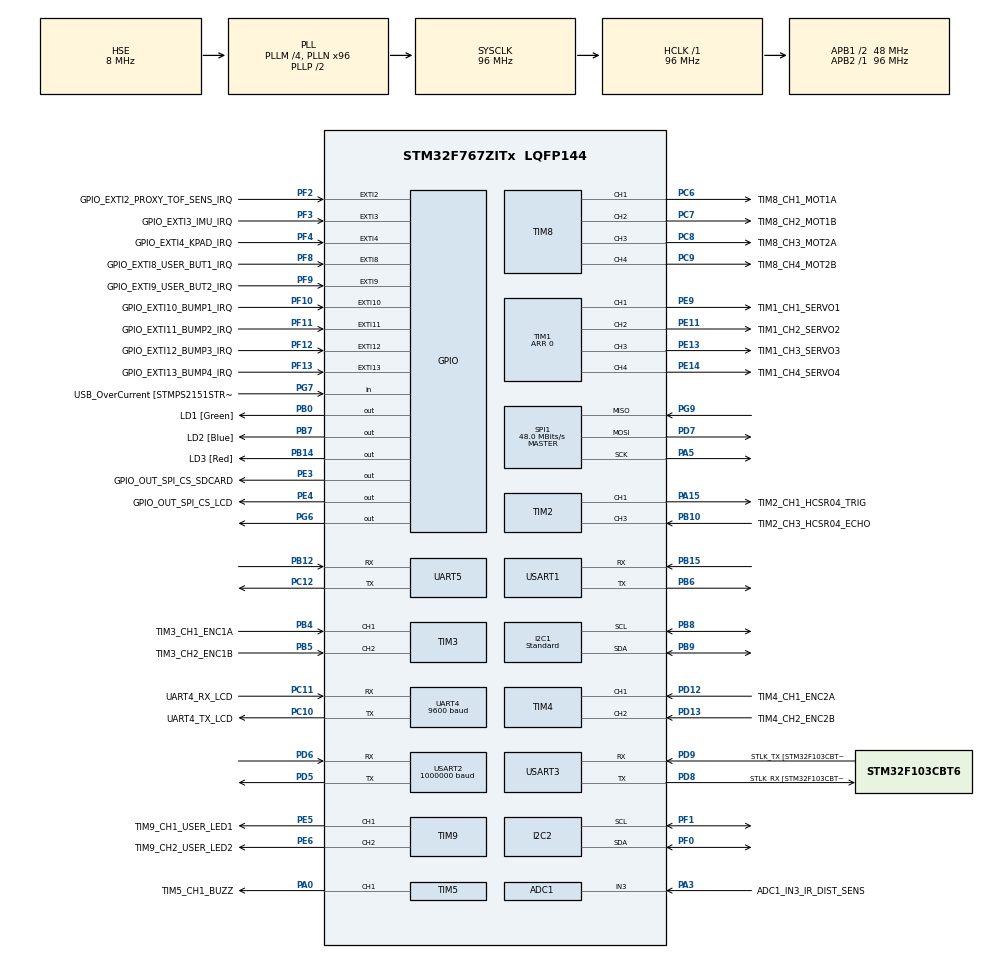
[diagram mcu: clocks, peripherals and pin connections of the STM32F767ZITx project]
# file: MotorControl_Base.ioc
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ADC1.Channel-1\#ChannelRegularConversion=ADC_CHANNEL_3
ADC1.NbrOfConversionFlag=1
ADC1.Rank-1\#ChannelRegularConversion=1
ADC1.SamplingTime-1\#ChannelRegularConversion=ADC_SAMPLETIME_3CYCLES
ADC1.master=1
I2C1.I2C_Speed_Mode=I2C_Standard
I2C1.Timing=0x20303E5D
I2C2.Timing=0x20303E5D
Mcu.Family=STM32F7
Mcu.Name=STM32F767ZITx
Mcu.Package=LQFP144
Mcu.UserConstants=TIM3_ARR_VALUE,3839;TIM4_ARR_VALUE,3839;TIM8_PSC_VALUE,959;TIM8_ARR_VALUE,399;TIM6_PSC_VALUE,959;TIM6_ARR_VALUE,999;TIM1_PSC_VALUE,959;TIM1_ARR_VALUE,1999
NVIC.PriorityGroup=NVIC_PRIORITYGROUP_4
NVIC.TIM6_DAC_IRQn=true\:1\:0\:true\:false\:true\:true\:true\:true
PA0/WKUP.GPIO_Label=TIM5_CH1_BUZZ
PA0/WKUP.Signal=S_TIM5_CH1
PA1.GPIO_Label=RMII_REF_CLK [LAN8742A-CZ-TR_REFCLK0]
PA1.Signal=ETH_REF_CLK
PA10.GPIO_Label=USB_ID
PA10.Signal=USB_OTG_FS_ID
PA11.GPIO_Label=USB_DM
PA11.Signal=USB_OTG_FS_DM
PA12.GPIO_Label=USB_DP
PA12.Signal=USB_OTG_FS_DP
PA13.GPIO_Label=TMS
PA13.Mode=Serial_Wire
PA13.Signal=SYS_JTMS-SWDIO
PA14.GPIO_Label=TCK
PA14.Mode=Serial_Wire
PA14.Signal=SYS_JTCK-SWCLK
PA15.GPIO_Label=TIM2_CH1_HCSR04_TRIG
PA15.Signal=S_TIM2_CH1_ETR
PA2.GPIO_Label=RMII_MDIO [LAN8742A-CZ-TR_MDIO]
PA2.Signal=ETH_MDIO
PA3.GPIO_Label=ADC1_IN3_IR_DIST_SENS
PA3.Signal=ADCx_IN3
PA5.Mode=Full_Duplex_Master
PA5.Signal=SPI1_SCK
PA7.GPIO_Label=RMII_CRS_DV [LAN8742A-CZ-TR_CRS_DV]
PA7.Signal=ETH_CRS_DV
PA8.GPIO_Label=USB_SOF [TP1]
PA8.Signal=USB_OTG_FS_SOF
PA9.GPIO_Label=USB_VBUS
PA9.Signal=USB_OTG_FS_VBUS
PB0.GPIO_Label=LD1 [Green]
PB0.Signal=GPIO_Output
PB10.GPIO_Label=TIM2_CH3_HCSR04_ECHO
PB10.Signal=S_TIM2_CH3
PB12.Mode=Asynchronous
PB12.Signal=UART5_RX
PB13.GPIO_Label=RMII_TXD1 [LAN8742A-CZ-TR_TXD1]
PB13.Signal=ETH_TXD1
PB14.GPIO_Label=LD3 [Red]
PB14.Signal=GPIO_Output
PB15.Mode=Asynchronous
PB15.Signal=USART1_RX
PB3.GPIO_Label=SWO
PB3.Signal=SYS_JTDO-SWO
PB4.GPIO_Label=TIM3_CH1_ENC1A
PB4.Signal=S_TIM3_CH1
PB5.GPIO_Label=TIM3_CH2_ENC1B
PB5.Signal=S_TIM3_CH2
PB6.Mode=Asynchronous
PB6.Signal=USART1_TX
PB7.GPIO_Label=LD2 [Blue]
PB7.Signal=GPIO_Output
PB8.GPIO_Pu=GPIO_PULLUP
PB8.Mode=I2C
PB8.Signal=I2C1_SCL
PB9.GPIO_Pu=GPIO_PULLUP
PB9.Mode=I2C
PB9.Signal=I2C1_SDA
PC1.GPIO_Label=RMII_MDC [LAN8742A-CZ-TR_MDC]
PC1.Signal=ETH_MDC
PC10.GPIO_Label=UART4_TX_LCD
PC10.Mode=Asynchronous
PC10.Signal=UART4_TX
PC11.GPIO_Label=UART4_RX_LCD
PC11.Mode=Asynchronous
PC11.Signal=UART4_RX
PC12.Mode=Asynchronous
PC12.Signal=UART5_TX
PC14/OSC32_IN.Mode=LSE-External-Oscillator
PC14/OSC32_IN.Signal=RCC_OSC32_IN
PC15/OSC32_OUT.Mode=LSE-External-Oscillator
PC15/OSC32_OUT.Signal=RCC_OSC32_OUT
PC4.GPIO_Label=RMII_RXD0 [LAN8742A-CZ-TR_RXD0]
PC4.Signal=ETH_RXD0
PC5.GPIO_Label=RMII_RXD1 [LAN8742A-CZ-TR_RXD1]
PC5.Signal=ETH_RXD1
PC6.GPIO_Label=TIM8_CH1_MOT1A
PC6.Signal=S_TIM8_CH1
PC7.GPIO_Label=TIM8_CH2_MOT1B
PC7.Signal=S_TIM8_CH2
PC8.GPIO_Label=TIM8_CH3_MOT2A
PC8.Signal=S_TIM8_CH3
PC9.GPIO_Label=TIM8_CH4_MOT2B
PC9.Signal=S_TIM8_CH4
PD12.GPIO_Label=TIM4_CH1_ENC2A
PD12.Signal=S_TIM4_CH1
PD13.GPIO_Label=TIM4_CH2_ENC2B
PD13.Signal=S_TIM4_CH2
PD5.Mode=Asynchronous
PD5.Signal=USART2_TX
PD6.Mode=Asynchronous
PD6.Signal=USART2_RX
PD7.Mode=Full_Duplex_Master
PD7.Signal=SPI1_MOSI
PD8.GPIO_Label=STLK_RX [STM32F103CBT6_PA3]
PD8.Mode=Asynchronous
PD8.Signal=USART3_TX
PD9.GPIO_Label=STLK_TX [STM32F103CBT6_PA2]
PD9.Mode=Asynchronous
PD9.Signal=USART3_RX
PE11.GPIO_Label=TIM1_CH2_SERVO2
PE11.Signal=S_TIM1_CH2
PE13.GPIO_Label=TIM1_CH3_SERVO3
PE13.Signal=S_TIM1_CH3
PE14.GPIO_Label=TIM1_CH4_SERVO4
PE14.Signal=S_TIM1_CH4
PE3.GPIO_Label=GPIO_OUT_SPI_CS_SDCARD
PE3.Signal=GPIO_Output
PE4.GPIO_Label=GPIO_OUT_SPI_CS_LCD
PE4.Signal=GPIO_Output
PE5.GPIO_Label=TIM9_CH1_USER_LED1
PE5.Signal=S_TIM9_CH1
PE6.GPIO_Label=TIM9_CH2_USER_LED2
PE6.Signal=S_TIM9_CH2
PE9.GPIO_Label=TIM1_CH1_SERVO1
PE9.Signal=S_TIM1_CH1
PF0.GPIO_Pu=GPIO_PULLUP
PF0.Mode=I2C
PF0.Signal=I2C2_SDA
PF1.GPIO_Pu=GPIO_PULLUP
PF1.Mode=I2C
PF1.Signal=I2C2_SCL
PF10.GPIO_Label=GPIO_EXTI10_BUMP1_IRQ
PF10.Signal=GPXTI10
PF11.GPIO_Label=GPIO_EXTI11_BUMP2_IRQ
PF11.Signal=GPXTI11
PF12.GPIO_Label=GPIO_EXTI12_BUMP3_IRQ
PF12.Signal=GPXTI12
PF13.GPIO_Label=GPIO_EXTI13_BUMP4_IRQ
PF13.Signal=GPXTI13
PF2.GPIO_Label=GPIO_EXTI2_PROXY_TOF_SENS_IRQ
PF2.Signal=GPXTI2
PF3.GPIO_Label=GPIO_EXTI3_IMU_IRQ
PF3.Signal=GPXTI3
PF4.GPIO_Label=GPIO_EXTI4_KPAD_IRQ
PF4.Signal=GPXTI4
PF8.GPIO_Label=GPIO_EXTI8_USER_BUT1_IRQ
PF8.Signal=GPXTI8
PF9.GPIO_Label=GPIO_EXTI9_USER_BUT2_IRQ
PF9.Signal=GPXTI9
PG11.GPIO_Label=RMII_TX_EN [LAN8742A-CZ-TR_TXEN]
PG11.Signal=ETH_TX_EN
PG13.GPIO_Label=RMII_TXD0 [LAN8742A-CZ-TR_TXD0]
PG13.Signal=ETH_TXD0
PG6.Signal=GPIO_Output
PG7.GPIO_Label=USB_OverCurrent [STMPS2151STR_FAULT]
PG7.Signal=GPIO_Input
PG9.Mode=Full_Duplex_Master
PG9.Signal=SPI1_MISO
PH0/OSC_IN.GPIO_Label=MCO [STM32F103CBT6_PA8]
PH0/OSC_IN.Mode=HSE-External-Clock-Source
PH0/OSC_IN.Signal=RCC_OSC_IN
PH1/OSC_OUT.Mode=HSE-External-Clock-Source
PH1/OSC_OUT.Signal=RCC_OSC_OUT
ProjectManager.HeapSize=0x200
ProjectManager.StackSize=0x400
ProjectManager.TargetToolchain=STM32CubeIDE
RCC.48MHZClocksFreq_Value=24000000
RCC.AHBFreq_Value=96000000
RCC.APB1CLKDivider=RCC_HCLK_DIV2
RCC.APB1Freq_Value=48000000
RCC.APB1TimFreq_Value=96000000
RCC.APB2Freq_Value=96000000
RCC.APB2TimFreq_Value=96000000
RCC.CortexFreq_Value=96000000
RCC.HCLKFreq_Value=96000000
RCC.HSE_VALUE=8000000
RCC.HSI_VALUE=16000000
RCC.PLLM=4
RCC.PLLMUL=RCC_PLL_MUL9
RCC.PLLN=96
RCC.PLLQ=4
RCC.PLLSourceVirtual=RCC_PLLSOURCE_HSE
RCC.PRESCALERUSB=RCC_USBCLKSOURCE_PLL_DIV1_5
RCC.SYSCLKFreq_VALUE=96000000
RCC.SYSCLKSource=RCC_SYSCLKSOURCE_PLLCLK
RCC.SYSCLKSourceVirtual=RCC_SYSCLKSOURCE_PLLCLK
RCC.USBFreq_Value=48000000
RCC.VCOOutputFreq_Value=192000000
SH.ADCx_IN3.0=ADC1_IN3,IN3
SH.S_TIM1_CH1.0=TIM1_CH1,Forced Output1 CH1
SH.S_TIM1_CH2.0=TIM1_CH2,Forced Output2 CH2
SH.S_TIM1_CH3.0=TIM1_CH3,Forced Output3 CH3
SH.S_TIM1_CH4.0=TIM1_CH4,Forced Output4 CH4
SH.S_TIM2_CH1_ETR.0=TIM2_CH1,PWM Generation1 CH1
SH.S_TIM2_CH3.0=TIM2_CH3,Input_Capture3_from_TI3
SH.S_TIM3_CH1.0=TIM3_CH1,Encoder_Interface
SH.S_TIM3_CH2.0=TIM3_CH2,Encoder_Interface
SH.S_TIM4_CH1.0=TIM4_CH1,Encoder_Interface
SH.S_TIM4_CH2.0=TIM4_CH2,Encoder_Interface
SH.S_TIM5_CH1.0=TIM5_CH1,PWM Generation1 CH1
SH.S_TIM8_CH1.0=TIM8_CH1,PWM Generation1 CH1
SH.S_TIM8_CH2.0=TIM8_CH2,PWM Generation2 CH2
SH.S_TIM8_CH3.0=TIM8_CH3,PWM Generation3 CH3
SH.S_TIM8_CH4.0=TIM8_CH4,PWM Generation4 CH4
SH.S_TIM9_CH1.0=TIM9_CH1,PWM Generation1 CH1
SH.S_TIM9_CH2.0=TIM9_CH2,PWM Generation2 CH2
SPI1.CalculateBaudRate=48.0 MBits/s
SPI1.Direction=SPI_DIRECTION_2LINES
SPI1.Mode=SPI_MODE_MASTER
SPI1.VirtualType=VM_MASTER
TIM1.Channel-Forced\ Output1\ CH1=TIM_CHANNEL_1
TIM1.Channel-Forced\ Output2\ CH2=TIM_CHANNEL_2
TIM1.Channel-Forced\ Output3\ CH3=TIM_CHANNEL_3
TIM1.Channel-Forced\ Output4\ CH4=TIM_CHANNEL_4
TIM1.OCPolarity_1=TIM_OCPOLARITY_LOW
TIM1.OCPolarity_2=TIM_OCPOLARITY_LOW
TIM1.OCPolarity_3=TIM_OCPOLARITY_LOW
TIM1.OCPolarity_4=TIM_OCPOLARITY_LOW
TIM1.Period=0
TIM2.Channel-Input_Capture3_from_TI3=TIM_CHANNEL_3
TIM2.Channel-PWM\ Generation1\ CH1=TIM_CHANNEL_1
TIM3.EncoderMode=TIM_ENCODERMODE_TI12
TIM3.IC1Filter=15
TIM3.IC2Filter=15
TIM3.Period=TIM3_ARR_VALUE
TIM4.EncoderMode=TIM_ENCODERMODE_TI12
TIM4.IC1Filter=15
TIM4.IC2Filter=15
TIM4.Period=TIM4_ARR_VALUE
TIM5.Channel-PWM\ Generation1\ CH1=TIM_CHANNEL_1
TIM6.Period=TIM6_ARR_VALUE
TIM6.Prescaler=TIM6_PSC_VALUE
TIM8.Channel-PWM\ Generation1\ CH1=TIM_CHANNEL_1
TIM8.Channel-PWM\ Generation2\ CH2=TIM_CHANNEL_2
TIM8.Channel-PWM\ Generation3\ CH3=TIM_CHANNEL_3
TIM8.Channel-PWM\ Generation4\ CH4=TIM_CHANNEL_4
TIM8.Period=TIM8_ARR_VALUE
TIM8.Prescaler=TIM8_PSC_VALUE
TIM9.Channel-PWM\ Generation1\ CH1=TIM_CHANNEL_1
TIM9.Channel-PWM\ Generation2\ CH2=TIM_CHANNEL_2
UART4.BaudRate=9600
USART1.VirtualMode-Asynchronous=VM_ASYNC
USART2.BaudRate=1000000
USART2.VirtualMode-Asynchronous=VM_ASYNC
USART3.VirtualMode-Asynchronous=VM_ASYNC
VP_TIM1_VS_ClockSourceINT.Mode=Internal
VP_TIM2_VS_ClockSourceINT.Mode=Internal
VP_TIM5_VS_ClockSourceINT.Mode=Internal
VP_TIM6_VS_ClockSourceINT.Mode=Enable_Timer
VP_TIM8_VS_ClockSourceINT.Mode=Internal
board=NUCLEO-F767ZI

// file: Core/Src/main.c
/* USER CODE BEGIN Header */
/**
 ******************************************************************************
 * @file           : main.c
 * @brief          : Main program body
 ******************************************************************************
 * @attention
 *
 * <h2><center>&copy; Copyright (c) 2021 STMicroelectronics.
 * All rights reserved.</center></h2>
 *
 * This software component is licensed by ST under BSD 3-Clause license,
 * the "License"; You may not use this file except in compliance with the
 * License. You may obtain a copy of the License at:
 *                        opensource.org/licenses/BSD-3-Clause
 *
 ******************************************************************************
 */
/* USER CODE END Header */
#include "main.h"

/* USER CODE BEGIN Includes */
#include <math.h>
#include <stdbool.h>
#include "ertc-datalogger.h"
/* USER CODE END Includes */

/* USER CODE BEGIN PD */
// #define	HAL_TIMEOUT		1
#define TS 0.01
#define KP1 1.6196
#define KI1 8.9979
#define KP2 1.9574
#define KI2 10.8747

#define VBATT 12.0 /* PSU max voltage */
#define V2DUTY ((float)(TIM8_ARR_VALUE + 1) / VBATT)
#define DUTY2V ((float)VBATT / (TIM8_ARR_VALUE + 1))

#define RPM2RADS 2 * M_PI / 60
#define ENC_PPR 3840.0f /* encoder counts per wheel revolution (x4 decoding, gearbox included) */
#define DUTY_MAX 0.5f   /* lab requirement: duty <= 50 % (6 V on 12 V) */

#define MODE_COAST 0 /* Forward/Coast (fast decay) */
#define MODE_BRAKE 1 /* Forward/Brake (slow decay) */
#define DRIVE_MODE MODE_BRAKE

/* H-bridge inputs on TIM8 and motor orientation */
#define M1_IN1_CH TIM_CHANNEL_1 /* motor 1, encoder TIM3 */
#define M1_IN2_CH TIM_CHANNEL_2
#define M2_IN1_CH TIM_CHANNEL_3 /* motor 2, encoder TIM4 */
#define M2_IN2_CH TIM_CHANNEL_4

/* +1: forward
 * -1: reverse
 */
#define M1_SIGN (+1) /* flip so "forward" gives w > 0 */
#define M2_SIGN (+1)

/* step experiment */
#define T_REST 2.0f /* in seconds 0 V before each step */
#define T_STEP 3.0f /* in seconds, step duration */
/* USER CODE END PD */

ADC_HandleTypeDef hadc1;

I2C_HandleTypeDef hi2c1;
I2C_HandleTypeDef hi2c2;

SPI_HandleTypeDef hspi1;

TIM_HandleTypeDef htim1;
TIM_HandleTypeDef htim2;
TIM_HandleTypeDef htim3;
TIM_HandleTypeDef htim4;
TIM_HandleTypeDef htim5;
TIM_HandleTypeDef htim6;
TIM_HandleTypeDef htim8;
TIM_HandleTypeDef htim9;

UART_HandleTypeDef huart4;
UART_HandleTypeDef huart5;
UART_HandleTypeDef huart1;
UART_HandleTypeDef huart2;
UART_HandleTypeDef huart3;

/* USER CODE BEGIN PV */
struct ertc_dlog logger;
/* USER CODE END PV */

void SystemClock_Config(void);
static void MX_GPIO_Init(void);
static void MX_USART3_UART_Init(void);
static void MX_ADC1_Init(void);
static void MX_I2C1_Init(void);
static void MX_I2C2_Init(void);
static void MX_SPI1_Init(void);
static void MX_TIM1_Init(void);
static void MX_TIM2_Init(void);
static void MX_TIM3_Init(void);
static void MX_TIM4_Init(void);
static void MX_TIM5_Init(void);
static void MX_TIM8_Init(void);
static void MX_UART4_Init(void);
static void MX_UART5_Init(void);
static void MX_USART1_UART_Init(void);
static void MX_USART2_UART_Init(void);
static void MX_TIM9_Init(void);
static void MX_TIM6_Init(void);

/* USER CODE BEGIN 0 */

struct datalog
{
  float w1, w2; /* wheel angular speed [rad/s] */
  float u1, u2; /* applied voltage [V]         */
} data;

static const float step_amps[] = {2.0f, 3.0f, 3.84f, 5.0f, 6.0f};
#define N_STEPS (sizeof(step_amps) / sizeof(float)) /* step_amps length */

static uint32_t TIM3_previous_count = 0, TIM4_previous_count = 0;
static uint32_t tick = 0;

/* encoder delta: compute the difference in tick */
static int32_t enc_delta(TIM_HandleTypeDef *htim, uint32_t *previous_count)
{
  uint32_t current_count = __HAL_TIM_GET_COUNTER(htim);
  int32_t range = (int32_t)__HAL_TIM_GET_AUTORELOAD(htim) + 1;
  int32_t diff_count = 0;

  /* concise implementation: using only c2 difference */
  /*
    int32_t diff_count = (int32_t)current_count - (int32_t)(*previous_count);
    if (diff_count > range / 2) // counter overflow
      diff_count -= range;
    else if (diff_count < -range / 2) // counter underflow
      diff_count += range;
  */

  /* motor control lecture implementations */
  if (__HAL_TIM_IS_TIM_COUNTING_DOWN(htim))
  {
    if (current_count <= *previous_count)
      diff_count = (int32_t)current_count - (int32_t)(*previous_count);
    else /* counter underflow */
      diff_count = -(range - (int32_t)current_count) - (int32_t)(*previous_count);
  }
  else /* COUNTING_UP */
  {
    if (current_count >= *previous_count)
      diff_count = (int32_t)current_count - (int32_t)(*previous_count);
    else /* counter overflow */
      diff_count = (range - (int32_t)(*previous_count)) + (int32_t)current_count;
  }

  *previous_count = current_count;
  return diff_count;
}

/* 2π * (d / (ARR * TS)) --> converts from encoder counts to rad/s */
static float counts_to_rads(int32_t d)
{
  return (float)(2.0 * M_PI * (double)d / (ENC_PPR * TS));
}

static float motor_set_voltage(uint32_t ch_in1, uint32_t ch_in2, float voltage)
{
  float duty = voltage / (float)VBATT; /* signed duty cycle */
  // safety check
  if (duty > DUTY_MAX)
    duty = DUTY_MAX;
  if (duty < -DUTY_MAX)
    duty = -DUTY_MAX;

  uint32_t full = TIM8_ARR_VALUE + 1u; /* ticks per PWM period */
  /* number of ticks "on" for modulation */
  uint32_t on = (uint32_t)(fabsf(duty) * (float)full);
  uint32_t forward_input_ticks, reverse_input_ticks;

#if DRIVE_MODE == MODE_COAST
  /* IN1 = PWM, IN2 = 0: OFF-time -> both low -> coast */
  forward_input_ticks = on;
  reverse_input_ticks = 0;
#else // DRIVE-BRAKE
  /* IN1 = 1, IN2 = inverted PWM: OFF-time -> both high -> brake */
  forward_input_ticks = full;
  reverse_input_ticks = full - on;
#endif

  if (duty >= 0.0f) /* forward */
  {
    __HAL_TIM_SET_COMPARE(&htim8, ch_in1, forward_input_ticks);
    __HAL_TIM_SET_COMPARE(&htim8, ch_in2, reverse_input_ticks);
  }
  else /* reverse */
  {
    __HAL_TIM_SET_COMPARE(&htim8, ch_in1, reverse_input_ticks);
    __HAL_TIM_SET_COMPARE(&htim8, ch_in2, forward_input_ticks);
  }

  return duty * (float)VBATT; // return the voltage correspondant to the duty cycle
}

/* For each amplitude: T_REST at 0 V, then T_STEP at the amplitude.
   0 V once the sequence is over. */
static float step_reference(uint32_t ir_count)
{
  /* from seconds to ticks */
  const uint32_t n_rest = (uint32_t)(T_REST / TS + 0.5);
  const uint32_t n_step = (uint32_t)(T_STEP / TS + 0.5);
  const uint32_t n_period = n_rest + n_step;

  uint32_t experiment_index = ir_count / n_period;
  if (experiment_index >= N_STEPS)
    return 0.0f; /* experiment finished, put voltage back to 0V */

  /* check if you need to set the voltage high or low in the single experiment */
  uint32_t status = ir_count % n_period;
  return (status >= n_rest) ? step_amps[experiment_index] : 0.0f;
}

void HAL_TIM_PeriodElapsedCallback(TIM_HandleTypeDef *htim)
{

  static int kLed = 0;

  /* Speed ctrl routine */
  if (htim->Instance == TIM6)
  {
    // check speed log
    // M1_SIGN, M2_SIGN give the direction of the speed
    float w1 = M1_SIGN * counts_to_rads(enc_delta(&htim3, &TIM3_previous_count));
    float w2 = M2_SIGN * counts_to_rads(enc_delta(&htim4, &TIM4_previous_count));

    float v_ref = 0.0f; // voltage reference
    // the logger starts with step_amps[0] voltage level (high)
    if (logger.tx_enable)
    {
      v_ref = step_reference(tick);
      tick++;
    }
    else
    {
      tick = 0; // restart
    }

    // set the voltages
    float u1 = M1_SIGN * motor_set_voltage(M1_IN1_CH, M1_IN2_CH, M1_SIGN * v_ref);
    float u2 = M2_SIGN * motor_set_voltage(M2_IN1_CH, M2_IN2_CH, M2_SIGN * v_ref);

    data.w1 = w1;
    data.w2 = w2;
    data.u1 = u1;
    data.u2 = u2;

    ertc_dlog_send(&logger, &data, sizeof(data));

    // Indicate that the program is running
    if (++kLed >= 10)
    {
      kLed = 0;
      HAL_GPIO_TogglePin(LD2_GPIO_Port, LD2_Pin);
    }
  }
}

/* Motor 1 Controller */
float PI1(float error)
{
	float P = KP1 * error;
	static float I1 = 0;
	I1 = I1 + KI1 * error * TS;

	return P + I1;
}

/* Motor 2 Controller */
float PI2(float error)
{
      float P = KP2 * error;
      static float I2 = 0;
      I2 = I2 + KI2 * error * TS;

      return P + I2;
}
/* USER CODE END 0 */

int main(void)
{

  /* MCU Configuration--------------------------------------------------------*/

  /* Reset of all peripherals, Initializes the Flash interface and the Systick. */
  HAL_Init();

  /* Configure the system clock */
  SystemClock_Config();

  /* Initialize all configured peripherals */
  MX_GPIO_Init();
  MX_USART3_UART_Init();
  MX_ADC1_Init();
  MX_I2C1_Init();
  MX_I2C2_Init();
  MX_SPI1_Init();
  MX_TIM1_Init();
  MX_TIM2_Init();
  MX_TIM3_Init();
  MX_TIM4_Init();
  MX_TIM5_Init();
  MX_TIM8_Init();
  MX_UART4_Init();
  MX_UART5_Init();
  MX_USART1_UART_Init();
  MX_USART2_UART_Init();
  MX_TIM9_Init();
  MX_TIM6_Init();
  /* USER CODE BEGIN 2 */

  logger.uart_handle = huart3; // for serial
  // logger.uart_handle = huart2; // for wifi

  /* Reset LCD */
  HAL_GPIO_WritePin(GPIO_OUT_SPI_CS_LCD_GPIO_Port, GPIO_OUT_SPI_CS_LCD_Pin, GPIO_PIN_SET);

  HAL_Delay(1000);

  /* Start encoders timers */
  HAL_TIM_Encoder_Start(&htim3, TIM_CHANNEL_ALL);
  HAL_TIM_Encoder_Start(&htim4, TIM_CHANNEL_ALL);
  TIM3_previous_count = __HAL_TIM_GET_COUNTER(&htim3); /* avoid a speed spike at start */
  TIM4_previous_count = __HAL_TIM_GET_COUNTER(&htim4);

  /* Start servomotors PWM (avoid floating inputs to servomotors) */
  HAL_TIM_PWM_Start(&htim1, TIM_CHANNEL_1);
  HAL_TIM_PWM_Start(&htim1, TIM_CHANNEL_2);
  HAL_TIM_PWM_Start(&htim1, TIM_CHANNEL_3);
  HAL_TIM_PWM_Start(&htim1, TIM_CHANNEL_4);

  /* Start motor PWM */
  __HAL_TIM_SET_COMPARE(&htim8, TIM_CHANNEL_1, 0);
  __HAL_TIM_SET_COMPARE(&htim8, TIM_CHANNEL_2, 0);
  __HAL_TIM_SET_COMPARE(&htim8, TIM_CHANNEL_3, 0);
  __HAL_TIM_SET_COMPARE(&htim8, TIM_CHANNEL_4, 0);

  HAL_TIM_PWM_Start(&htim8, TIM_CHANNEL_1);
  HAL_TIM_PWM_Start(&htim8, TIM_CHANNEL_2);
  HAL_TIM_PWM_Start(&htim8, TIM_CHANNEL_3);
  HAL_TIM_PWM_Start(&htim8, TIM_CHANNEL_4);

  // both motors at 0 V in the selected drive mode
  motor_set_voltage(M1_IN1_CH, M1_IN2_CH, 0.0f);
  motor_set_voltage(M2_IN1_CH, M2_IN2_CH, 0.0f);

  /* Start speed ctrl ISR */
  HAL_TIM_Base_Start_IT(&htim6);

  /* USER CODE END 2 */

  /* Infinite loop */
  while (1)
  {

    /* USER CODE BEGIN 3 */
    ertc_dlog_update(&logger);
  }
  /* USER CODE END 3 */
}

void SystemClock_Config(void)
{
  RCC_OscInitTypeDef RCC_OscInitStruct = {0};
  RCC_ClkInitTypeDef RCC_ClkInitStruct = {0};

  /** Configure LSE Drive Capability
   */
  HAL_PWR_EnableBkUpAccess();

  /** Configure the main internal regulator output voltage
   */
  __HAL_RCC_PWR_CLK_ENABLE();
  __HAL_PWR_VOLTAGESCALING_CONFIG(PWR_REGULATOR_VOLTAGE_SCALE3);

  /** Initializes the RCC Oscillators according to the specified parameters
   * in the RCC_OscInitTypeDef structure.
   */
  RCC_OscInitStruct.OscillatorType = RCC_OSCILLATORTYPE_HSE;
  RCC_OscInitStruct.HSEState = RCC_HSE_BYPASS;
  RCC_OscInitStruct.PLL.PLLState = RCC_PLL_ON;
  RCC_OscInitStruct.PLL.PLLSource = RCC_PLLSOURCE_HSE;
  RCC_OscInitStruct.PLL.PLLM = 4;
  RCC_OscInitStruct.PLL.PLLN = 96;
  RCC_OscInitStruct.PLL.PLLP = RCC_PLLP_DIV2;
  RCC_OscInitStruct.PLL.PLLQ = 4;
  RCC_OscInitStruct.PLL.PLLR = 2;
  if (HAL_RCC_OscConfig(&RCC_OscInitStruct) != HAL_OK)
  {
    Error_Handler();
  }

  /** Activate the Over-Drive mode
   */
  if (HAL_PWREx_EnableOverDrive() != HAL_OK)
  {
    Error_Handler();
  }

  /** Initializes the CPU, AHB and APB buses clocks
   */
  RCC_ClkInitStruct.ClockType = RCC_CLOCKTYPE_HCLK | RCC_CLOCKTYPE_SYSCLK | RCC_CLOCKTYPE_PCLK1 | RCC_CLOCKTYPE_PCLK2;
  RCC_ClkInitStruct.SYSCLKSource = RCC_SYSCLKSOURCE_PLLCLK;
  RCC_ClkInitStruct.AHBCLKDivider = RCC_SYSCLK_DIV1;
  RCC_ClkInitStruct.APB1CLKDivider = RCC_HCLK_DIV2;
  RCC_ClkInitStruct.APB2CLKDivider = RCC_HCLK_DIV1;

  if (HAL_RCC_ClockConfig(&RCC_ClkInitStruct, FLASH_LATENCY_3) != HAL_OK)
  {
    Error_Handler();
  }
}

static void MX_ADC1_Init(void)
{

  ADC_ChannelConfTypeDef sConfig = {0};

  /** Configure the global features of the ADC (Clock, Resolution, Data Alignment and number of conversion)
   */
  hadc1.Instance = ADC1;
  hadc1.Init.ClockPrescaler = ADC_CLOCK_SYNC_PCLK_DIV4;
  hadc1.Init.Resolution = ADC_RESOLUTION_12B;
  hadc1.Init.ScanConvMode = ADC_SCAN_DISABLE;
  hadc1.Init.ContinuousConvMode = DISABLE;
  hadc1.Init.DiscontinuousConvMode = DISABLE;
  hadc1.Init.ExternalTrigConvEdge = ADC_EXTERNALTRIGCONVEDGE_NONE;
  hadc1.Init.ExternalTrigConv = ADC_SOFTWARE_START;
  hadc1.Init.DataAlign = ADC_DATAALIGN_RIGHT;
  hadc1.Init.NbrOfConversion = 1;
  hadc1.Init.DMAContinuousRequests = DISABLE;
  hadc1.Init.EOCSelection = ADC_EOC_SINGLE_CONV;
  if (HAL_ADC_Init(&hadc1) != HAL_OK)
  {
    Error_Handler();
  }

  /** Configure for the selected ADC regular channel its corresponding rank in the sequencer and its sample time.
   */
  sConfig.Channel = ADC_CHANNEL_3;
  sConfig.Rank = ADC_REGULAR_RANK_1;
  sConfig.SamplingTime = ADC_SAMPLETIME_3CYCLES;
  if (HAL_ADC_ConfigChannel(&hadc1, &sConfig) != HAL_OK)
  {
    Error_Handler();
  }
}

static void MX_I2C1_Init(void)
{

  hi2c1.Instance = I2C1;
  hi2c1.Init.Timing = 0x20303E5D;
  hi2c1.Init.OwnAddress1 = 0;
  hi2c1.Init.AddressingMode = I2C_ADDRESSINGMODE_7BIT;
  hi2c1.Init.DualAddressMode = I2C_DUALADDRESS_DISABLE;
  hi2c1.Init.OwnAddress2 = 0;
  hi2c1.Init.OwnAddress2Masks = I2C_OA2_NOMASK;
  hi2c1.Init.GeneralCallMode = I2C_GENERALCALL_DISABLE;
  hi2c1.Init.NoStretchMode = I2C_NOSTRETCH_DISABLE;
  if (HAL_I2C_Init(&hi2c1) != HAL_OK)
  {
    Error_Handler();
  }

  /** Configure Analogue filter
   */
  if (HAL_I2CEx_ConfigAnalogFilter(&hi2c1, I2C_ANALOGFILTER_ENABLE) != HAL_OK)
  {
    Error_Handler();
  }

  /** Configure Digital filter
   */
  if (HAL_I2CEx_ConfigDigitalFilter(&hi2c1, 0) != HAL_OK)
  {
    Error_Handler();
  }
}

static void MX_I2C2_Init(void)
{

  hi2c2.Instance = I2C2;
  hi2c2.Init.Timing = 0x20303E5D;
  hi2c2.Init.OwnAddress1 = 0;
  hi2c2.Init.AddressingMode = I2C_ADDRESSINGMODE_7BIT;
  hi2c2.Init.DualAddressMode = I2C_DUALADDRESS_DISABLE;
  hi2c2.Init.OwnAddress2 = 0;
  hi2c2.Init.OwnAddress2Masks = I2C_OA2_NOMASK;
  hi2c2.Init.GeneralCallMode = I2C_GENERALCALL_DISABLE;
  hi2c2.Init.NoStretchMode = I2C_NOSTRETCH_DISABLE;
  if (HAL_I2C_Init(&hi2c2) != HAL_OK)
  {
    Error_Handler();
  }

  /** Configure Analogue filter
   */
  if (HAL_I2CEx_ConfigAnalogFilter(&hi2c2, I2C_ANALOGFILTER_ENABLE) != HAL_OK)
  {
    Error_Handler();
  }

  /** Configure Digital filter
   */
  if (HAL_I2CEx_ConfigDigitalFilter(&hi2c2, 0) != HAL_OK)
  {
    Error_Handler();
  }
}

static void MX_SPI1_Init(void)
{

  /* SPI1 parameter configuration*/
  hspi1.Instance = SPI1;
  hspi1.Init.Mode = SPI_MODE_MASTER;
  hspi1.Init.Direction = SPI_DIRECTION_2LINES;
  hspi1.Init.DataSize = SPI_DATASIZE_4BIT;
  hspi1.Init.CLKPolarity = SPI_POLARITY_LOW;
  hspi1.Init.CLKPhase = SPI_PHASE_1EDGE;
  hspi1.Init.NSS = SPI_NSS_SOFT;
  hspi1.Init.BaudRatePrescaler = SPI_BAUDRATEPRESCALER_2;
  hspi1.Init.FirstBit = SPI_FIRSTBIT_MSB;
  hspi1.Init.TIMode = SPI_TIMODE_DISABLE;
  hspi1.Init.CRCCalculation = SPI_CRCCALCULATION_DISABLE;
  hspi1.Init.CRCPolynomial = 7;
  hspi1.Init.CRCLength = SPI_CRC_LENGTH_DATASIZE;
  hspi1.Init.NSSPMode = SPI_NSS_PULSE_ENABLE;
  if (HAL_SPI_Init(&hspi1) != HAL_OK)
  {
    Error_Handler();
  }
}

static void MX_TIM1_Init(void)
{

  TIM_ClockConfigTypeDef sClockSourceConfig = {0};
  TIM_MasterConfigTypeDef sMasterConfig = {0};
  TIM_OC_InitTypeDef sConfigOC = {0};
  TIM_BreakDeadTimeConfigTypeDef sBreakDeadTimeConfig = {0};

  htim1.Instance = TIM1;
  htim1.Init.Prescaler = 0;
  htim1.Init.CounterMode = TIM_COUNTERMODE_UP;
  htim1.Init.Period = 0;
  htim1.Init.ClockDivision = TIM_CLOCKDIVISION_DIV1;
  htim1.Init.RepetitionCounter = 0;
  htim1.Init.AutoReloadPreload = TIM_AUTORELOAD_PRELOAD_DISABLE;
  if (HAL_TIM_Base_Init(&htim1) != HAL_OK)
  {
    Error_Handler();
  }
  sClockSourceConfig.ClockSource = TIM_CLOCKSOURCE_INTERNAL;
  if (HAL_TIM_ConfigClockSource(&htim1, &sClockSourceConfig) != HAL_OK)
  {
    Error_Handler();
  }
  if (HAL_TIM_OC_Init(&htim1) != HAL_OK)
  {
    Error_Handler();
  }
  sMasterConfig.MasterOutputTrigger = TIM_TRGO_RESET;
  sMasterConfig.MasterOutputTrigger2 = TIM_TRGO2_RESET;
  sMasterConfig.MasterSlaveMode = TIM_MASTERSLAVEMODE_DISABLE;
  if (HAL_TIMEx_MasterConfigSynchronization(&htim1, &sMasterConfig) != HAL_OK)
  {
    Error_Handler();
  }
  sConfigOC.OCMode = TIM_OCMODE_FORCED_ACTIVE;
  sConfigOC.Pulse = 0;
  sConfigOC.OCPolarity = TIM_OCPOLARITY_LOW;
  sConfigOC.OCNPolarity = TIM_OCNPOLARITY_HIGH;
  sConfigOC.OCFastMode = TIM_OCFAST_DISABLE;
  sConfigOC.OCIdleState = TIM_OCIDLESTATE_RESET;
  sConfigOC.OCNIdleState = TIM_OCNIDLESTATE_RESET;
  if (HAL_TIM_OC_ConfigChannel(&htim1, &sConfigOC, TIM_CHANNEL_1) != HAL_OK)
  {
    Error_Handler();
  }
  if (HAL_TIM_OC_ConfigChannel(&htim1, &sConfigOC, TIM_CHANNEL_2) != HAL_OK)
  {
    Error_Handler();
  }
  if (HAL_TIM_OC_ConfigChannel(&htim1, &sConfigOC, TIM_CHANNEL_3) != HAL_OK)
  {
    Error_Handler();
  }
  if (HAL_TIM_OC_ConfigChannel(&htim1, &sConfigOC, TIM_CHANNEL_4) != HAL_OK)
  {
    Error_Handler();
  }
  sBreakDeadTimeConfig.OffStateRunMode = TIM_OSSR_DISABLE;
  sBreakDeadTimeConfig.OffStateIDLEMode = TIM_OSSI_DISABLE;
  sBreakDeadTimeConfig.LockLevel = TIM_LOCKLEVEL_OFF;
  sBreakDeadTimeConfig.DeadTime = 0;
  sBreakDeadTimeConfig.BreakState = TIM_BREAK_DISABLE;
  sBreakDeadTimeConfig.BreakPolarity = TIM_BREAKPOLARITY_HIGH;
  sBreakDeadTimeConfig.BreakFilter = 0;
  sBreakDeadTimeConfig.Break2State = TIM_BREAK2_DISABLE;
  sBreakDeadTimeConfig.Break2Polarity = TIM_BREAK2POLARITY_HIGH;
  sBreakDeadTimeConfig.Break2Filter = 0;
  sBreakDeadTimeConfig.AutomaticOutput = TIM_AUTOMATICOUTPUT_DISABLE;
  if (HAL_TIMEx_ConfigBreakDeadTime(&htim1, &sBreakDeadTimeConfig) != HAL_OK)
  {
    Error_Handler();
  }
  HAL_TIM_MspPostInit(&htim1);
}

static void MX_TIM2_Init(void)
{

  TIM_ClockConfigTypeDef sClockSourceConfig = {0};
  TIM_MasterConfigTypeDef sMasterConfig = {0};
  TIM_OC_InitTypeDef sConfigOC = {0};
  TIM_IC_InitTypeDef sConfigIC = {0};

  htim2.Instance = TIM2;
  htim2.Init.Prescaler = 0;
  htim2.Init.CounterMode = TIM_COUNTERMODE_UP;
  htim2.Init.Period = 4294967295;
  htim2.Init.ClockDivision = TIM_CLOCKDIVISION_DIV1;
  htim2.Init.AutoReloadPreload = TIM_AUTORELOAD_PRELOAD_DISABLE;
  if (HAL_TIM_Base_Init(&htim2) != HAL_OK)
  {
    Error_Handler();
  }
  sClockSourceConfig.ClockSource = TIM_CLOCKSOURCE_INTERNAL;
  if (HAL_TIM_ConfigClockSource(&htim2, &sClockSourceConfig) != HAL_OK)
  {
    Error_Handler();
  }
  if (HAL_TIM_PWM_Init(&htim2) != HAL_OK)
  {
    Error_Handler();
  }
  if (HAL_TIM_IC_Init(&htim2) != HAL_OK)
  {
    Error_Handler();
  }
  sMasterConfig.MasterOutputTrigger = TIM_TRGO_RESET;
  sMasterConfig.MasterSlaveMode = TIM_MASTERSLAVEMODE_DISABLE;
  if (HAL_TIMEx_MasterConfigSynchronization(&htim2, &sMasterConfig) != HAL_OK)
  {
    Error_Handler();
  }
  sConfigOC.OCMode = TIM_OCMODE_PWM1;
  sConfigOC.Pulse = 0;
  sConfigOC.OCPolarity = TIM_OCPOLARITY_HIGH;
  sConfigOC.OCFastMode = TIM_OCFAST_DISABLE;
  if (HAL_TIM_PWM_ConfigChannel(&htim2, &sConfigOC, TIM_CHANNEL_1) != HAL_OK)
  {
    Error_Handler();
  }
  sConfigIC.ICPolarity = TIM_INPUTCHANNELPOLARITY_RISING;
  sConfigIC.ICSelection = TIM_ICSELECTION_DIRECTTI;
  sConfigIC.ICPrescaler = TIM_ICPSC_DIV1;
  sConfigIC.ICFilter = 0;
  if (HAL_TIM_IC_ConfigChannel(&htim2, &sConfigIC, TIM_CHANNEL_3) != HAL_OK)
  {
    Error_Handler();
  }
  HAL_TIM_MspPostInit(&htim2);
}

static void MX_TIM3_Init(void)
{

  TIM_Encoder_InitTypeDef sConfig = {0};
  TIM_MasterConfigTypeDef sMasterConfig = {0};

  htim3.Instance = TIM3;
  htim3.Init.Prescaler = 0;
  htim3.Init.CounterMode = TIM_COUNTERMODE_UP;
  htim3.Init.Period = TIM3_ARR_VALUE;
  htim3.Init.ClockDivision = TIM_CLOCKDIVISION_DIV1;
  htim3.Init.AutoReloadPreload = TIM_AUTORELOAD_PRELOAD_DISABLE;
  sConfig.EncoderMode = TIM_ENCODERMODE_TI12;
  sConfig.IC1Polarity = TIM_ICPOLARITY_RISING;
  sConfig.IC1Selection = TIM_ICSELECTION_DIRECTTI;
  sConfig.IC1Prescaler = TIM_ICPSC_DIV1;
  sConfig.IC1Filter = 15;
  sConfig.IC2Polarity = TIM_ICPOLARITY_RISING;
  sConfig.IC2Selection = TIM_ICSELECTION_DIRECTTI;
  sConfig.IC2Prescaler = TIM_ICPSC_DIV1;
  sConfig.IC2Filter = 15;
  if (HAL_TIM_Encoder_Init(&htim3, &sConfig) != HAL_OK)
  {
    Error_Handler();
  }
  sMasterConfig.MasterOutputTrigger = TIM_TRGO_RESET;
  sMasterConfig.MasterSlaveMode = TIM_MASTERSLAVEMODE_DISABLE;
  if (HAL_TIMEx_MasterConfigSynchronization(&htim3, &sMasterConfig) != HAL_OK)
  {
    Error_Handler();
  }
}

static void MX_TIM4_Init(void)
{

  TIM_Encoder_InitTypeDef sConfig = {0};
  TIM_MasterConfigTypeDef sMasterConfig = {0};

  htim4.Instance = TIM4;
  htim4.Init.Prescaler = 0;
  htim4.Init.CounterMode = TIM_COUNTERMODE_UP;
  htim4.Init.Period = TIM4_ARR_VALUE;
  htim4.Init.ClockDivision = TIM_CLOCKDIVISION_DIV1;
  htim4.Init.AutoReloadPreload = TIM_AUTORELOAD_PRELOAD_DISABLE;
  sConfig.EncoderMode = TIM_ENCODERMODE_TI12;
  sConfig.IC1Polarity = TIM_ICPOLARITY_RISING;
  sConfig.IC1Selection = TIM_ICSELECTION_DIRECTTI;
  sConfig.IC1Prescaler = TIM_ICPSC_DIV1;
  sConfig.IC1Filter = 15;
  sConfig.IC2Polarity = TIM_ICPOLARITY_RISING;
  sConfig.IC2Selection = TIM_ICSELECTION_DIRECTTI;
  sConfig.IC2Prescaler = TIM_ICPSC_DIV1;
  sConfig.IC2Filter = 15;
  if (HAL_TIM_Encoder_Init(&htim4, &sConfig) != HAL_OK)
  {
    Error_Handler();
  }
  sMasterConfig.MasterOutputTrigger = TIM_TRGO_RESET;
  sMasterConfig.MasterSlaveMode = TIM_MASTERSLAVEMODE_DISABLE;
  if (HAL_TIMEx_MasterConfigSynchronization(&htim4, &sMasterConfig) != HAL_OK)
  {
    Error_Handler();
  }
}

static void MX_TIM5_Init(void)
{

  TIM_ClockConfigTypeDef sClockSourceConfig = {0};
  TIM_MasterConfigTypeDef sMasterConfig = {0};
  TIM_OC_InitTypeDef sConfigOC = {0};

  htim5.Instance = TIM5;
  htim5.Init.Prescaler = 0;
  htim5.Init.CounterMode = TIM_COUNTERMODE_UP;
  htim5.Init.Period = 4294967295;
  htim5.Init.ClockDivision = TIM_CLOCKDIVISION_DIV1;
  htim5.Init.AutoReloadPreload = TIM_AUTORELOAD_PRELOAD_DISABLE;
  if (HAL_TIM_Base_Init(&htim5) != HAL_OK)
  {
    Error_Handler();
  }
  sClockSourceConfig.ClockSource = TIM_CLOCKSOURCE_INTERNAL;
  if (HAL_TIM_ConfigClockSource(&htim5, &sClockSourceConfig) != HAL_OK)
  {
    Error_Handler();
  }
  if (HAL_TIM_PWM_Init(&htim5) != HAL_OK)
  {
    Error_Handler();
  }
  sMasterConfig.MasterOutputTrigger = TIM_TRGO_RESET;
  sMasterConfig.MasterSlaveMode = TIM_MASTERSLAVEMODE_DISABLE;
  if (HAL_TIMEx_MasterConfigSynchronization(&htim5, &sMasterConfig) != HAL_OK)
  {
    Error_Handler();
  }
  sConfigOC.OCMode = TIM_OCMODE_PWM1;
  sConfigOC.Pulse = 0;
  sConfigOC.OCPolarity = TIM_OCPOLARITY_HIGH;
  sConfigOC.OCFastMode = TIM_OCFAST_DISABLE;
  if (HAL_TIM_PWM_ConfigChannel(&htim5, &sConfigOC, TIM_CHANNEL_1) != HAL_OK)
  {
    Error_Handler();
  }
  HAL_TIM_MspPostInit(&htim5);
}

static void MX_TIM6_Init(void)
{

  TIM_MasterConfigTypeDef sMasterConfig = {0};

  htim6.Instance = TIM6;
  htim6.Init.Prescaler = TIM6_PSC_VALUE;
  htim6.Init.CounterMode = TIM_COUNTERMODE_UP;
  htim6.Init.Period = TIM6_ARR_VALUE;
  htim6.Init.AutoReloadPreload = TIM_AUTORELOAD_PRELOAD_DISABLE;
  if (HAL_TIM_Base_Init(&htim6) != HAL_OK)
  {
    Error_Handler();
  }
  sMasterConfig.MasterOutputTrigger = TIM_TRGO_RESET;
  sMasterConfig.MasterSlaveMode = TIM_MASTERSLAVEMODE_DISABLE;
  if (HAL_TIMEx_MasterConfigSynchronization(&htim6, &sMasterConfig) != HAL_OK)
  {
    Error_Handler();
  }
}

static void MX_TIM8_Init(void)
{

  TIM_ClockConfigTypeDef sClockSourceConfig = {0};
  TIM_MasterConfigTypeDef sMasterConfig = {0};
  TIM_OC_InitTypeDef sConfigOC = {0};
  TIM_BreakDeadTimeConfigTypeDef sBreakDeadTimeConfig = {0};

  htim8.Instance = TIM8;
  htim8.Init.Prescaler = TIM8_PSC_VALUE;
  htim8.Init.CounterMode = TIM_COUNTERMODE_UP;
  htim8.Init.Period = TIM8_ARR_VALUE;
  htim8.Init.ClockDivision = TIM_CLOCKDIVISION_DIV1;
  htim8.Init.RepetitionCounter = 0;
  htim8.Init.AutoReloadPreload = TIM_AUTORELOAD_PRELOAD_DISABLE;
  if (HAL_TIM_Base_Init(&htim8) != HAL_OK)
  {
    Error_Handler();
  }
  sClockSourceConfig.ClockSource = TIM_CLOCKSOURCE_INTERNAL;
  if (HAL_TIM_ConfigClockSource(&htim8, &sClockSourceConfig) != HAL_OK)
  {
    Error_Handler();
  }
  if (HAL_TIM_PWM_Init(&htim8) != HAL_OK)
  {
    Error_Handler();
  }
  sMasterConfig.MasterOutputTrigger = TIM_TRGO_RESET;
  sMasterConfig.MasterOutputTrigger2 = TIM_TRGO2_RESET;
  sMasterConfig.MasterSlaveMode = TIM_MASTERSLAVEMODE_DISABLE;
  if (HAL_TIMEx_MasterConfigSynchronization(&htim8, &sMasterConfig) != HAL_OK)
  {
    Error_Handler();
  }
  sConfigOC.OCMode = TIM_OCMODE_PWM1;
  sConfigOC.Pulse = 0;
  sConfigOC.OCPolarity = TIM_OCPOLARITY_HIGH;
  sConfigOC.OCNPolarity = TIM_OCNPOLARITY_HIGH;
  sConfigOC.OCFastMode = TIM_OCFAST_DISABLE;
  sConfigOC.OCIdleState = TIM_OCIDLESTATE_RESET;
  sConfigOC.OCNIdleState = TIM_OCNIDLESTATE_RESET;
  if (HAL_TIM_PWM_ConfigChannel(&htim8, &sConfigOC, TIM_CHANNEL_1) != HAL_OK)
  {
    Error_Handler();
  }
  if (HAL_TIM_PWM_ConfigChannel(&htim8, &sConfigOC, TIM_CHANNEL_2) != HAL_OK)
  {
    Error_Handler();
  }
  if (HAL_TIM_PWM_ConfigChannel(&htim8, &sConfigOC, TIM_CHANNEL_3) != HAL_OK)
  {
    Error_Handler();
  }
  if (HAL_TIM_PWM_ConfigChannel(&htim8, &sConfigOC, TIM_CHANNEL_4) != HAL_OK)
  {
    Error_Handler();
  }
  sBreakDeadTimeConfig.OffStateRunMode = TIM_OSSR_DISABLE;
  sBreakDeadTimeConfig.OffStateIDLEMode = TIM_OSSI_DISABLE;
  sBreakDeadTimeConfig.LockLevel = TIM_LOCKLEVEL_OFF;
  sBreakDeadTimeConfig.DeadTime = 0;
  sBreakDeadTimeConfig.BreakState = TIM_BREAK_DISABLE;
  sBreakDeadTimeConfig.BreakPolarity = TIM_BREAKPOLARITY_HIGH;
  sBreakDeadTimeConfig.BreakFilter = 0;
  sBreakDeadTimeConfig.Break2State = TIM_BREAK2_DISABLE;
  sBreakDeadTimeConfig.Break2Polarity = TIM_BREAK2POLARITY_HIGH;
  sBreakDeadTimeConfig.Break2Filter = 0;
  sBreakDeadTimeConfig.AutomaticOutput = TIM_AUTOMATICOUTPUT_DISABLE;
  if (HAL_TIMEx_ConfigBreakDeadTime(&htim8, &sBreakDeadTimeConfig) != HAL_OK)
  {
    Error_Handler();
  }
  HAL_TIM_MspPostInit(&htim8);
}

static void MX_TIM9_Init(void)
{

  TIM_OC_InitTypeDef sConfigOC = {0};

  htim9.Instance = TIM9;
  htim9.Init.Prescaler = 0;
  htim9.Init.CounterMode = TIM_COUNTERMODE_UP;
  htim9.Init.Period = 65535;
  htim9.Init.ClockDivision = TIM_CLOCKDIVISION_DIV1;
  htim9.Init.AutoReloadPreload = TIM_AUTORELOAD_PRELOAD_DISABLE;
  if (HAL_TIM_PWM_Init(&htim9) != HAL_OK)
  {
    Error_Handler();
  }
  sConfigOC.OCMode = TIM_OCMODE_PWM1;
  sConfigOC.Pulse = 0;
  sConfigOC.OCPolarity = TIM_OCPOLARITY_HIGH;
  sConfigOC.OCFastMode = TIM_OCFAST_DISABLE;
  if (HAL_TIM_PWM_ConfigChannel(&htim9, &sConfigOC, TIM_CHANNEL_1) != HAL_OK)
  {
    Error_Handler();
  }
  if (HAL_TIM_PWM_ConfigChannel(&htim9, &sConfigOC, TIM_CHANNEL_2) != HAL_OK)
  {
    Error_Handler();
  }
  HAL_TIM_MspPostInit(&htim9);
}

static void MX_UART4_Init(void)
{

  huart4.Instance = UART4;
  huart4.Init.BaudRate = 9600;
  huart4.Init.WordLength = UART_WORDLENGTH_8B;
  huart4.Init.StopBits = UART_STOPBITS_1;
  huart4.Init.Parity = UART_PARITY_NONE;
  huart4.Init.Mode = UART_MODE_TX_RX;
  huart4.Init.HwFlowCtl = UART_HWCONTROL_NONE;
  huart4.Init.OverSampling = UART_OVERSAMPLING_16;
  huart4.Init.OneBitSampling = UART_ONE_BIT_SAMPLE_DISABLE;
  huart4.AdvancedInit.AdvFeatureInit = UART_ADVFEATURE_NO_INIT;
  if (HAL_UART_Init(&huart4) != HAL_OK)
  {
    Error_Handler();
  }
}

static void MX_UART5_Init(void)
{

  huart5.Instance = UART5;
  huart5.Init.BaudRate = 115200;
  huart5.Init.WordLength = UART_WORDLENGTH_8B;
  huart5.Init.StopBits = UART_STOPBITS_1;
  huart5.Init.Parity = UART_PARITY_NONE;
  huart5.Init.Mode = UART_MODE_TX_RX;
  huart5.Init.HwFlowCtl = UART_HWCONTROL_NONE;
  huart5.Init.OverSampling = UART_OVERSAMPLING_16;
  huart5.Init.OneBitSampling = UART_ONE_BIT_SAMPLE_DISABLE;
  huart5.AdvancedInit.AdvFeatureInit = UART_ADVFEATURE_NO_INIT;
  if (HAL_UART_Init(&huart5) != HAL_OK)
  {
    Error_Handler();
  }
}

static void MX_USART1_UART_Init(void)
{

  huart1.Instance = USART1;
  huart1.Init.BaudRate = 115200;
  huart1.Init.WordLength = UART_WORDLENGTH_8B;
  huart1.Init.StopBits = UART_STOPBITS_1;
  huart1.Init.Parity = UART_PARITY_NONE;
  huart1.Init.Mode = UART_MODE_TX_RX;
  huart1.Init.HwFlowCtl = UART_HWCONTROL_NONE;
  huart1.Init.OverSampling = UART_OVERSAMPLING_16;
  huart1.Init.OneBitSampling = UART_ONE_BIT_SAMPLE_DISABLE;
  huart1.AdvancedInit.AdvFeatureInit = UART_ADVFEATURE_NO_INIT;
  if (HAL_UART_Init(&huart1) != HAL_OK)
  {
    Error_Handler();
  }
}

static void MX_USART2_UART_Init(void)
{

  huart2.Instance = USART2;
  huart2.Init.BaudRate = 1000000;
  huart2.Init.WordLength = UART_WORDLENGTH_8B;
  huart2.Init.StopBits = UART_STOPBITS_1;
  huart2.Init.Parity = UART_PARITY_NONE;
  huart2.Init.Mode = UART_MODE_TX_RX;
  huart2.Init.HwFlowCtl = UART_HWCONTROL_NONE;
  huart2.Init.OverSampling = UART_OVERSAMPLING_16;
  huart2.Init.OneBitSampling = UART_ONE_BIT_SAMPLE_DISABLE;
  huart2.AdvancedInit.AdvFeatureInit = UART_ADVFEATURE_NO_INIT;
  if (HAL_UART_Init(&huart2) != HAL_OK)
  {
    Error_Handler();
  }
}

static void MX_USART3_UART_Init(void)
{

  huart3.Instance = USART3;
  huart3.Init.BaudRate = 115200;
  huart3.Init.WordLength = UART_WORDLENGTH_8B;
  huart3.Init.StopBits = UART_STOPBITS_1;
  huart3.Init.Parity = UART_PARITY_NONE;
  huart3.Init.Mode = UART_MODE_TX_RX;
  huart3.Init.HwFlowCtl = UART_HWCONTROL_NONE;
  huart3.Init.OverSampling = UART_OVERSAMPLING_16;
  huart3.Init.OneBitSampling = UART_ONE_BIT_SAMPLE_DISABLE;
  huart3.AdvancedInit.AdvFeatureInit = UART_ADVFEATURE_NO_INIT;
  if (HAL_UART_Init(&huart3) != HAL_OK)
  {
    Error_Handler();
  }
}

static void MX_GPIO_Init(void)
{
  GPIO_InitTypeDef GPIO_InitStruct = {0};

  /* GPIO Ports Clock Enable */
  __HAL_RCC_GPIOE_CLK_ENABLE();
  __HAL_RCC_GPIOC_CLK_ENABLE();
  __HAL_RCC_GPIOF_CLK_ENABLE();
  __HAL_RCC_GPIOH_CLK_ENABLE();
  __HAL_RCC_GPIOA_CLK_ENABLE();
  __HAL_RCC_GPIOB_CLK_ENABLE();
  __HAL_RCC_GPIOD_CLK_ENABLE();
  __HAL_RCC_GPIOG_CLK_ENABLE();

  /*Configure GPIO pin Output Level */
  HAL_GPIO_WritePin(GPIOE, GPIO_OUT_SPI_CS_SDCARD_Pin | GPIO_OUT_SPI_CS_LCD_Pin, GPIO_PIN_RESET);

  /*Configure GPIO pin Output Level */
  HAL_GPIO_WritePin(GPIOB, LD1_Pin | LD3_Pin | LD2_Pin, GPIO_PIN_RESET);

  /*Configure GPIO pin Output Level */
  HAL_GPIO_WritePin(GPIOG, GPIO_PIN_6, GPIO_PIN_RESET);

  /*Configure GPIO pins : GPIO_OUT_SPI_CS_SDCARD_Pin GPIO_OUT_SPI_CS_LCD_Pin */
  GPIO_InitStruct.Pin = GPIO_OUT_SPI_CS_SDCARD_Pin | GPIO_OUT_SPI_CS_LCD_Pin;
  GPIO_InitStruct.Mode = GPIO_MODE_OUTPUT_PP;
  GPIO_InitStruct.Pull = GPIO_NOPULL;
  GPIO_InitStruct.Speed = GPIO_SPEED_FREQ_LOW;
  HAL_GPIO_Init(GPIOE, &GPIO_InitStruct);

  /*Configure GPIO pins : GPIO_EXTI2_PROXY_TOF_SENS_IRQ_Pin GPIO_EXTI3_IMU_IRQ_Pin GPIO_EXTI4_KPAD_IRQ_Pin GPIO_EXTI8_USER_BUT1_IRQ_Pin
                           GPIO_EXTI9_USER_BUT2_IRQ_Pin GPIO_EXTI10_BUMP1_IRQ_Pin GPIO_EXTI11_BUMP2_IRQ_Pin GPIO_EXTI12_BUMP3_IRQ_Pin
                           GPIO_EXTI13_BUMP4_IRQ_Pin */
  GPIO_InitStruct.Pin = GPIO_EXTI2_PROXY_TOF_SENS_IRQ_Pin | GPIO_EXTI3_IMU_IRQ_Pin | GPIO_EXTI4_KPAD_IRQ_Pin | GPIO_EXTI8_USER_BUT1_IRQ_Pin | GPIO_EXTI9_USER_BUT2_IRQ_Pin | GPIO_EXTI10_BUMP1_IRQ_Pin | GPIO_EXTI11_BUMP2_IRQ_Pin | GPIO_EXTI12_BUMP3_IRQ_Pin | GPIO_EXTI13_BUMP4_IRQ_Pin;
  GPIO_InitStruct.Mode = GPIO_MODE_IT_RISING;
  GPIO_InitStruct.Pull = GPIO_NOPULL;
  HAL_GPIO_Init(GPIOF, &GPIO_InitStruct);

  /*Configure GPIO pins : RMII_MDC_Pin RMII_RXD0_Pin RMII_RXD1_Pin */
  GPIO_InitStruct.Pin = RMII_MDC_Pin | RMII_RXD0_Pin | RMII_RXD1_Pin;
  GPIO_InitStruct.Mode = GPIO_MODE_AF_PP;
  GPIO_InitStruct.Pull = GPIO_NOPULL;
  GPIO_InitStruct.Speed = GPIO_SPEED_FREQ_VERY_HIGH;
  GPIO_InitStruct.Alternate = GPIO_AF11_ETH;
  HAL_GPIO_Init(GPIOC, &GPIO_InitStruct);

  /*Configure GPIO pins : RMII_REF_CLK_Pin RMII_MDIO_Pin RMII_CRS_DV_Pin */
  GPIO_InitStruct.Pin = RMII_REF_CLK_Pin | RMII_MDIO_Pin | RMII_CRS_DV_Pin;
  GPIO_InitStruct.Mode = GPIO_MODE_AF_PP;
  GPIO_InitStruct.Pull = GPIO_NOPULL;
  GPIO_InitStruct.Speed = GPIO_SPEED_FREQ_VERY_HIGH;
  GPIO_InitStruct.Alternate = GPIO_AF11_ETH;
  HAL_GPIO_Init(GPIOA, &GPIO_InitStruct);

  /*Configure GPIO pins : LD1_Pin LD3_Pin LD2_Pin */
  GPIO_InitStruct.Pin = LD1_Pin | LD3_Pin | LD2_Pin;
  GPIO_InitStruct.Mode = GPIO_MODE_OUTPUT_PP;
  GPIO_InitStruct.Pull = GPIO_NOPULL;
  GPIO_InitStruct.Speed = GPIO_SPEED_FREQ_LOW;
  HAL_GPIO_Init(GPIOB, &GPIO_InitStruct);

  /*Configure GPIO pin : RMII_TXD1_Pin */
  GPIO_InitStruct.Pin = RMII_TXD1_Pin;
  GPIO_InitStruct.Mode = GPIO_MODE_AF_PP;
  GPIO_InitStruct.Pull = GPIO_NOPULL;
  GPIO_InitStruct.Speed = GPIO_SPEED_FREQ_VERY_HIGH;
  GPIO_InitStruct.Alternate = GPIO_AF11_ETH;
  HAL_GPIO_Init(RMII_TXD1_GPIO_Port, &GPIO_InitStruct);

  /*Configure GPIO pin : PG6 */
  GPIO_InitStruct.Pin = GPIO_PIN_6;
  GPIO_InitStruct.Mode = GPIO_MODE_OUTPUT_PP;
  GPIO_InitStruct.Pull = GPIO_NOPULL;
  GPIO_InitStruct.Speed = GPIO_SPEED_FREQ_LOW;
  HAL_GPIO_Init(GPIOG, &GPIO_InitStruct);

  /*Configure GPIO pin : USB_OverCurrent_Pin */
  GPIO_InitStruct.Pin = USB_OverCurrent_Pin;
  GPIO_InitStruct.Mode = GPIO_MODE_INPUT;
  GPIO_InitStruct.Pull = GPIO_NOPULL;
  HAL_GPIO_Init(USB_OverCurrent_GPIO_Port, &GPIO_InitStruct);

  /*Configure GPIO pins : USB_SOF_Pin USB_ID_Pin USB_DM_Pin USB_DP_Pin */
  GPIO_InitStruct.Pin = USB_SOF_Pin | USB_ID_Pin | USB_DM_Pin | USB_DP_Pin;
  GPIO_InitStruct.Mode = GPIO_MODE_AF_PP;
  GPIO_InitStruct.Pull = GPIO_NOPULL;
  GPIO_InitStruct.Speed = GPIO_SPEED_FREQ_VERY_HIGH;
  GPIO_InitStruct.Alternate = GPIO_AF10_OTG_FS;
  HAL_GPIO_Init(GPIOA, &GPIO_InitStruct);

  /*Configure GPIO pin : USB_VBUS_Pin */
  GPIO_InitStruct.Pin = USB_VBUS_Pin;
  GPIO_InitStruct.Mode = GPIO_MODE_INPUT;
  GPIO_InitStruct.Pull = GPIO_NOPULL;
  HAL_GPIO_Init(USB_VBUS_GPIO_Port, &GPIO_InitStruct);

  /*Configure GPIO pins : RMII_TX_EN_Pin RMII_TXD0_Pin */
  GPIO_InitStruct.Pin = RMII_TX_EN_Pin | RMII_TXD0_Pin;
  GPIO_InitStruct.Mode = GPIO_MODE_AF_PP;
  GPIO_InitStruct.Pull = GPIO_NOPULL;
  GPIO_InitStruct.Speed = GPIO_SPEED_FREQ_VERY_HIGH;
  GPIO_InitStruct.Alternate = GPIO_AF11_ETH;
  HAL_GPIO_Init(GPIOG, &GPIO_InitStruct);

}

void Error_Handler(void)
{
  /* USER CODE BEGIN Error_Handler_Debug */
  /* User can add his own implementation to report the HAL error return state */
  __disable_irq();
  while (1)
  {
    static uint32_t kLed = 0;
    if (++kLed >= 1000)
    {
      kLed = 0;
      HAL_GPIO_TogglePin(LD3_GPIO_Port, LD3_Pin);
    }
  }
  /* USER CODE END Error_Handler_Debug */
}
